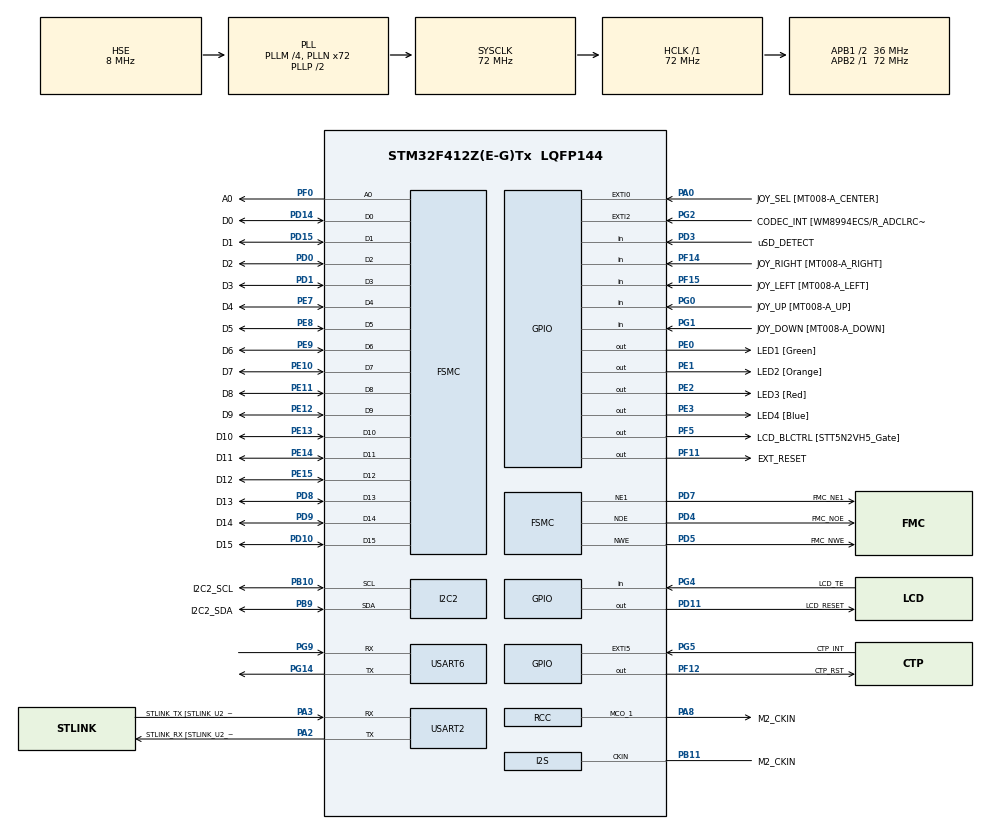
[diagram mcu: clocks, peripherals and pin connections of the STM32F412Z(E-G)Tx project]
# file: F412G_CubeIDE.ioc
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PD7.Mode=NorPsramChipSelect1_1
SH.FSMC_D1_DA1.0=FSMC_D1,16b-d1
PB10.Mode=I2C
PG4.Signal=GPIO_Input
PA14.GPIO_Label=SWCLK
SH.FSMC_NWE.0=FSMC_NWE,Lcd1
PG0.Signal=GPIO_Input
RCC.SYSCLKSource=RCC_SYSCLKSOURCE_PLLCLK
PE1.GPIO_ModeDefaultOutputPP=GPIO_MODE_OUTPUT_OD
PD4.Signal=FSMC_NOE
RCC.APB2TimFreq_Value=72000000
PD0.Signal=FSMC_D2_DA2
PD8.Signal=FSMC_D13_DA13
PE1.Signal=GPIO_Output
PD1.GPIO_Label=D3
PG14.Mode=Asynchronous
PF12.GPIO_Label=CTP_RST
SH.FSMC_D10_DA10.0=FSMC_D10,16b-d1
PE9.Signal=FSMC_D6_DA6
SH.FSMC_A0.0=FSMC_A0,A0_1
PG4.GPIO_Label=LCD_TE
PE2.Signal=GPIO_Output
PA8.Signal=RCC_MCO_1
PE10.Signal=FSMC_D7_DA7
SH.FSMC_D5_DA5.0=FSMC_D5,16b-d1
PA0.Signal=GPXTI0
Mcu.Package=LQFP144
PB9.Signal=I2C2_SDA
PE12.GPIO_Label=D9
SH.FSMC_D3_DA3.0=FSMC_D3,16b-d1
PF14.Signal=GPIO_Input
RCC.APB1TimFreq_Value=72000000
PE10.GPIO_Label=D7
PD15.Signal=FSMC_D1_DA1
PD9.GPIO_Label=D14
TIM3.AutoReloadPreload=TIM_AUTORELOAD_PRELOAD_ENABLE
PG5.Signal=GPXTI5
PG9.Signal=USART6_RX
PD3.Signal=GPIO_Input
PH1\ -\ OSC_OUT.Mode=HSE-External-Clock-Source
PG9.Mode=Asynchronous
PB11.GPIO_Label=M2_CKIN
PD7.Signal=FSMC_NE1
PD1.Signal=FSMC_D3_DA3
SH.FSMC_D9_DA9.0=FSMC_D9,16b-d1
PF14.GPIO_Label=JOY_RIGHT [MT008-A_RIGHT]
RCC.APB1CLKDivider=RCC_HCLK_DIV2
PC14-OSC32_IN.Signal=RCC_OSC32_IN
SH.FSMC_D8_DA8.0=FSMC_D8,16b-d1
PD10.Signal=FSMC_D15_DA15
PA3.Mode=Asynchronous
PA8.GPIO_Label=M2_CKIN
PB11.Mode=Audio_ClockIn
PE8.GPIO_Label=D5
PE9.GPIO_Label=D6
PB10.Signal=I2C2_SCL
PH1\ -\ OSC_OUT.Signal=RCC_OSC_OUT
SH.FSMC_D7_DA7.0=FSMC_D7,16b-d1
PE1.GPIO_Label=LED2 [Orange]
NVIC.TIM3_IRQn=true\:0\:0\:false\:false\:true\:true\:true
PE14.Signal=FSMC_D11_DA11
PE15.Signal=FSMC_D12_DA12
PE8.Signal=FSMC_D5_DA5
PA13.Mode=Serial_Wire
PE13.GPIO_Label=D10
PE3.GPIO_ModeDefaultOutputPP=GPIO_MODE_OUTPUT_OD
PD11.Signal=GPIO_Output
SH.FSMC_D15_DA15.0=FSMC_D15,16b-d1
ProjectManager.HeapSize=0x200
NVIC.PriorityGroup=NVIC_PRIORITYGROUP_4
PF0.GPIO_Label=A0
PE3.Signal=GPIO_Output
PA8.Mode=Clock-out-1
Mcu.Family=STM32F4
RCC.CortexFreq_Value=72000000
PG2.Signal=GPXTI2
PE11.GPIO_Label=D8
VP_IWDG_VS_IWDG.Mode=IWDG_Activate
PA0.GPIO_Label=JOY_SEL [MT008-A_CENTER]
SH.FSMC_D0_DA0.0=FSMC_D0,16b-d1
PD0.GPIO_Label=D2
PG5.GPIO_Label=CTP_INT
PB11.Signal=I2S_CKIN
ProjectManager.StackSize=0x400
PH0\ -\ OSC_IN.Signal=RCC_OSC_IN
PD11.GPIO_Label=LCD_RESET
RCC.HCLKFreq_Value=72000000
TIM3.Period=100-1
PF11.GPIO_Label=EXT_RESET
PF12.Signal=GPIO_Output
RCC.AHBFreq_Value=72000000
TIM3.ClockDivision=TIM_CLOCKDIVISION_DIV2
RCC.HSE_VALUE=8000000
PE2.GPIO_ModeDefaultOutputPP=GPIO_MODE_OUTPUT_OD
PE13.Signal=FSMC_D10_DA10
SH.FSMC_D14_DA14.0=FSMC_D14,16b-d1
PC14-OSC32_IN.Mode=LSE-External-Oscillator
PA14.Mode=Serial_Wire
TIM3.Prescaler=36000
PF11.Signal=GPIO_Output
SH.FSMC_D6_DA6.0=FSMC_D6,16b-d1
PD7.GPIO_Label=FMC_NE1
SH.FSMC_D4_DA4.0=FSMC_D4,16b-d1
USART2.VirtualMode=VM_ASYNC
USART6.VirtualMode=VM_ASYNC
PD5.GPIO_Label=FMC_NWE
PA2.GPIO_Label=STLINK_RX [STLINK_U2_RX]
SH.FSMC_D13_DA13.0=FSMC_D13,16b-d1
PF5.GPIO_Label=LCD_BLCTRL [STT5N2VH5_Gate]
PG0.GPIO_Label=JOY_UP [MT008-A_UP]
PE0.GPIO_Label=LED1 [Green]
PF5.Signal=GPIO_Output
SH.FSMC_D2_DA2.0=FSMC_D2,16b-d1
PF0.Signal=FSMC_A0
PD3.GPIO_Label=uSD_DETECT
PE7.Signal=FSMC_D4_DA4
PE2.GPIO_Label=LED3 [Red]
VP_TIM3_VS_ClockSourceINT.Mode=Internal
PG2.GPIO_Label=CODEC_INT [WM8994ECS/R_ADCLRCLK1/GPIO1]
PA3.Signal=USART2_RX
RCC.PLLSourceVirtual=RCC_PLLSOURCE_HSE
PC15-OSC32_OUT.Mode=LSE-External-Oscillator
PE0.GPIO_ModeDefaultOutputPP=GPIO_MODE_OUTPUT_OD
SH.FSMC_D12_DA12.0=FSMC_D12,16b-d1
PD15.GPIO_Label=D1
PB9.GPIO_Label=I2C2_SDA
PG1.Signal=GPIO_Input
PE14.GPIO_Label=D11
PD9.Signal=FSMC_D14_DA14
PD5.Signal=FSMC_NWE
PD8.GPIO_Label=D13
PA13.Signal=SYS_JTMS-SWDIO
PH0\ -\ OSC_IN.Mode=HSE-External-Clock-Source
PE15.GPIO_Label=D12
ProjectManager.TargetToolchain=STM32CubeIDE
PB10.GPIO_Label=I2C2_SCL
PB9.Mode=I2C
RCC.USBFreq_Value=48000000
PD10.GPIO_Label=D15
PE11.Signal=FSMC_D8_DA8
PC15-OSC32_OUT.Signal=RCC_OSC32_OUT
PG14.Signal=USART6_TX
board=STM32F412G-DISCO
RCC.VCOOutputFreq_Value=144000000
PG1.GPIO_Label=JOY_DOWN [MT008-A_DOWN]
RCC.APB2Freq_Value=72000000
PD4.GPIO_Label=FMC_NOE
PF15.GPIO_Label=JOY_LEFT [MT008-A_LEFT]
PF15.Signal=GPIO_Input
PD14.GPIO_Label=D0
Mcu.Name=STM32F412Z(E-G)Tx
PE0.Signal=GPIO_Output
PE7.GPIO_Label=D4
PE12.Signal=FSMC_D9_DA9
PA2.Signal=USART2_TX
PA13.GPIO_Label=SWDIO
PD14.Signal=FSMC_D0_DA0
RCC.48MHZClocksFreq_Value=48000000
RCC.SYSCLKFreq_VALUE=72000000
PA14.Signal=SYS_JTCK-SWCLK
SH.FSMC_D11_DA11.0=FSMC_D11,16b-d1
SH.FSMC_NOE.0=FSMC_NOE,Lcd1
RCC.HSI_VALUE=16000000
RCC.PLLQ=3
RCC.PLLM=4
RCC.PLLN=72
IWDG.Prescaler=IWDG_PRESCALER_8
PA2.Mode=Asynchronous
PE3.GPIO_Label=LED4 [Blue]
PH0\ -\ OSC_IN.GPIO_Label=STLK_MCO
TIM3.TIM_MasterOutputTrigger=TIM_TRGO_RESET
RCC.APB1Freq_Value=36000000
RCC.PLLI2SN=50
PA3.GPIO_Label=STLINK_TX [STLINK_U2_TX]
RCC.PLLI2SM=4

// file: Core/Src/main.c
/* USER CODE BEGIN Header */
/**
  ******************************************************************************
  * @file           : main.c
  * @brief          : Main program body
  ******************************************************************************
  * @attention
  *
  * <h2><center>&copy; Copyright (c) 2021 STMicroelectronics.
  * All rights reserved.</center></h2>
  *
  * This software component is licensed by ST under Ultimate Liberty license
  * SLA0044, the "License"; You may not use this file except in compliance with
  * the License. You may obtain a copy of the License at:
  *                             www.st.com/SLA0044
  *
  ******************************************************************************
  */
/* USER CODE END Header */
#include "main.h"

/* USER CODE BEGIN Includes */
#include <stdlib.h>

#include "stm32f4xx_hal.h"
#include "stm32412g_discovery.h"
#include "stm32412g_discovery_lcd.h"

// eigene Include's
// #include "AMG.h"
#include "LCD.h"
#include "generalHandling.h"

/* USER CODE END Includes */

I2C_HandleTypeDef hi2c2;

IWDG_HandleTypeDef hiwdg;

TIM_HandleTypeDef htim3;

UART_HandleTypeDef huart2;
UART_HandleTypeDef huart6;

SRAM_HandleTypeDef hsram1;

void SystemClock_Config(void);
static void MX_GPIO_Init(void);
static void MX_FSMC_Init(void);
static void MX_I2C2_Init(void);
static void MX_USART2_UART_Init(void);
static void MX_USART6_UART_Init(void);
static void MX_IWDG_Init(void);
static void MX_TIM3_Init(void);
/* USER CODE BEGIN PFP */
void runtimeRoutine()
{
	// alle 64 Pixel des Sensors auslesen
	  for(int i = 0; i < 64; i++)
	  {
		  rawData[i] = amgGetData(regDataL, regDataH);
		  dataInt[i] = amgTranslateDataInt(rawData[i]);
		  dataFloat[i] = amgTranslateDataFloat(rawData[i]);
		  regDataL += 2;
		  regDataH += 2;
	  }

	  // Gleitkommazahlen über UART senden
	  amgDataToUart(dataFloat, dataInt);

	  // LCD auf Basis der Integer updaten (Gleitkommazahlen lohnen sich hier nicht wirklich)
	  updateLCD(dataInt);

	  HAL_IWDG_Refresh(&hiwdg);
}

void HAL_TIM_PeriodElapsedCallback(TIM_HandleTypeDef *htim)
{
	runtimeRoutine();
}

/* USER CODE END PFP */

int main(void)
{

  /* MCU Configuration--------------------------------------------------------*/

  /* Reset of all peripherals, Initializes the Flash interface and the Systick. */
  HAL_Init();

  /* Configure the system clock */
  SystemClock_Config();

  /* Initialize all configured peripherals */
  MX_GPIO_Init();
  MX_FSMC_Init();
  MX_I2C2_Init();
  MX_USART2_UART_Init();
  MX_USART6_UART_Init();
  MX_IWDG_Init();
  MX_TIM3_Init();
  /* USER CODE BEGIN 2 */
  // Ausschalten aller LEDs
  resetLEDs();

  // Initialisierung des LCDs
  confLCD();

  // Initialisierung der I2C-Schnittstelle & des Sensors
  confAMG();

  // Initialisierung des Watchdog-Timers
  confWatchdog();

  // Starten des Timers, der mit einer Frequenz von 10Hz globale Interrupts auslöst
  HAL_TIM_Base_Start_IT(&htim3);
  /* USER CODE END 2 */

  /* Infinite loop */
  while (1)
  {

  }
}

void SystemClock_Config(void)
{
  RCC_OscInitTypeDef RCC_OscInitStruct = {0};
  RCC_ClkInitTypeDef RCC_ClkInitStruct = {0};

  /** Configure the main internal regulator output voltage
  */
  __HAL_RCC_PWR_CLK_ENABLE();
  __HAL_PWR_VOLTAGESCALING_CONFIG(PWR_REGULATOR_VOLTAGE_SCALE1);
  /** Initializes the RCC Oscillators according to the specified parameters
  * in the RCC_OscInitTypeDef structure.
  */
  RCC_OscInitStruct.OscillatorType = RCC_OSCILLATORTYPE_HSI|RCC_OSCILLATORTYPE_LSI
                              |RCC_OSCILLATORTYPE_HSE;
  RCC_OscInitStruct.HSEState = RCC_HSE_BYPASS;
  RCC_OscInitStruct.HSIState = RCC_HSI_ON;
  RCC_OscInitStruct.HSICalibrationValue = RCC_HSICALIBRATION_DEFAULT;
  RCC_OscInitStruct.LSIState = RCC_LSI_ON;
  RCC_OscInitStruct.PLL.PLLState = RCC_PLL_ON;
  RCC_OscInitStruct.PLL.PLLSource = RCC_PLLSOURCE_HSE;
  RCC_OscInitStruct.PLL.PLLM = 4;
  RCC_OscInitStruct.PLL.PLLN = 72;
  RCC_OscInitStruct.PLL.PLLP = RCC_PLLP_DIV2;
  RCC_OscInitStruct.PLL.PLLQ = 3;
  RCC_OscInitStruct.PLL.PLLR = 2;
  if (HAL_RCC_OscConfig(&RCC_OscInitStruct) != HAL_OK)
  {
    Error_Handler();
  }
  /** Initializes the CPU, AHB and APB buses clocks
  */
  RCC_ClkInitStruct.ClockType = RCC_CLOCKTYPE_HCLK|RCC_CLOCKTYPE_SYSCLK
                              |RCC_CLOCKTYPE_PCLK1|RCC_CLOCKTYPE_PCLK2;
  RCC_ClkInitStruct.SYSCLKSource = RCC_SYSCLKSOURCE_PLLCLK;
  RCC_ClkInitStruct.AHBCLKDivider = RCC_SYSCLK_DIV1;
  RCC_ClkInitStruct.APB1CLKDivider = RCC_HCLK_DIV2;
  RCC_ClkInitStruct.APB2CLKDivider = RCC_HCLK_DIV1;

  if (HAL_RCC_ClockConfig(&RCC_ClkInitStruct, FLASH_LATENCY_2) != HAL_OK)
  {
    Error_Handler();
  }
  HAL_RCC_MCOConfig(RCC_MCO1, RCC_MCO1SOURCE_HSI, RCC_MCODIV_1);
}

static void MX_I2C2_Init(void)
{

  hi2c2.Instance = I2C2;
  hi2c2.Init.ClockSpeed = 100000;
  hi2c2.Init.DutyCycle = I2C_DUTYCYCLE_2;
  hi2c2.Init.OwnAddress1 = 0;
  hi2c2.Init.AddressingMode = I2C_ADDRESSINGMODE_7BIT;
  hi2c2.Init.DualAddressMode = I2C_DUALADDRESS_DISABLE;
  hi2c2.Init.OwnAddress2 = 0;
  hi2c2.Init.GeneralCallMode = I2C_GENERALCALL_DISABLE;
  hi2c2.Init.NoStretchMode = I2C_NOSTRETCH_DISABLE;
  if (HAL_I2C_Init(&hi2c2) != HAL_OK)
  {
    Error_Handler();
  }

}

static void MX_IWDG_Init(void)
{

  hiwdg.Instance = IWDG;
  hiwdg.Init.Prescaler = IWDG_PRESCALER_8;
  hiwdg.Init.Reload = 4095;
  if (HAL_IWDG_Init(&hiwdg) != HAL_OK)
  {
    Error_Handler();
  }

}

static void MX_TIM3_Init(void)
{

  TIM_ClockConfigTypeDef sClockSourceConfig = {0};
  TIM_MasterConfigTypeDef sMasterConfig = {0};

  htim3.Instance = TIM3;
  htim3.Init.Prescaler = 36000;
  htim3.Init.CounterMode = TIM_COUNTERMODE_UP;
  htim3.Init.Period = 100-1;
  htim3.Init.ClockDivision = TIM_CLOCKDIVISION_DIV2;
  htim3.Init.AutoReloadPreload = TIM_AUTORELOAD_PRELOAD_ENABLE;
  if (HAL_TIM_Base_Init(&htim3) != HAL_OK)
  {
    Error_Handler();
  }
  sClockSourceConfig.ClockSource = TIM_CLOCKSOURCE_INTERNAL;
  if (HAL_TIM_ConfigClockSource(&htim3, &sClockSourceConfig) != HAL_OK)
  {
    Error_Handler();
  }
  sMasterConfig.MasterOutputTrigger = TIM_TRGO_RESET;
  sMasterConfig.MasterSlaveMode = TIM_MASTERSLAVEMODE_DISABLE;
  if (HAL_TIMEx_MasterConfigSynchronization(&htim3, &sMasterConfig) != HAL_OK)
  {
    Error_Handler();
  }

}

static void MX_USART2_UART_Init(void)
{

  huart2.Instance = USART2;
  huart2.Init.BaudRate = 115200;
  huart2.Init.WordLength = UART_WORDLENGTH_8B;
  huart2.Init.StopBits = UART_STOPBITS_1;
  huart2.Init.Parity = UART_PARITY_NONE;
  huart2.Init.Mode = UART_MODE_TX_RX;
  huart2.Init.HwFlowCtl = UART_HWCONTROL_NONE;
  huart2.Init.OverSampling = UART_OVERSAMPLING_16;
  if (HAL_UART_Init(&huart2) != HAL_OK)
  {
    Error_Handler();
  }

}

static void MX_USART6_UART_Init(void)
{

  huart6.Instance = USART6;
  huart6.Init.BaudRate = 115200;
  huart6.Init.WordLength = UART_WORDLENGTH_8B;
  huart6.Init.StopBits = UART_STOPBITS_1;
  huart6.Init.Parity = UART_PARITY_NONE;
  huart6.Init.Mode = UART_MODE_TX_RX;
  huart6.Init.HwFlowCtl = UART_HWCONTROL_NONE;
  huart6.Init.OverSampling = UART_OVERSAMPLING_16;
  if (HAL_UART_Init(&huart6) != HAL_OK)
  {
    Error_Handler();
  }

}

static void MX_GPIO_Init(void)
{
  GPIO_InitTypeDef GPIO_InitStruct = {0};

  /* GPIO Ports Clock Enable */
  __HAL_RCC_GPIOE_CLK_ENABLE();
  __HAL_RCC_GPIOC_CLK_ENABLE();
  __HAL_RCC_GPIOF_CLK_ENABLE();
  __HAL_RCC_GPIOH_CLK_ENABLE();
  __HAL_RCC_GPIOA_CLK_ENABLE();
  __HAL_RCC_GPIOG_CLK_ENABLE();
  __HAL_RCC_GPIOB_CLK_ENABLE();
  __HAL_RCC_GPIOD_CLK_ENABLE();

  /*Configure GPIO pin Output Level */
  HAL_GPIO_WritePin(GPIOE, LED3_Pin|LED4_Pin|LED1_Pin|LED2_Pin, GPIO_PIN_RESET);

  /*Configure GPIO pin Output Level */
  HAL_GPIO_WritePin(GPIOF, LCD_BLCTRL_Pin|EXT_RESET_Pin|CTP_RST_Pin, GPIO_PIN_RESET);

  /*Configure GPIO pin Output Level */
  HAL_GPIO_WritePin(LCD_RESET_GPIO_Port, LCD_RESET_Pin, GPIO_PIN_RESET);

  /*Configure GPIO pins : LED3_Pin LED4_Pin LED1_Pin LED2_Pin */
  GPIO_InitStruct.Pin = LED3_Pin|LED4_Pin|LED1_Pin|LED2_Pin;
  GPIO_InitStruct.Mode = GPIO_MODE_OUTPUT_OD;
  GPIO_InitStruct.Pull = GPIO_NOPULL;
  GPIO_InitStruct.Speed = GPIO_SPEED_FREQ_LOW;
  HAL_GPIO_Init(GPIOE, &GPIO_InitStruct);

  /*Configure GPIO pins : LCD_BLCTRL_Pin EXT_RESET_Pin CTP_RST_Pin */
  GPIO_InitStruct.Pin = LCD_BLCTRL_Pin|EXT_RESET_Pin|CTP_RST_Pin;
  GPIO_InitStruct.Mode = GPIO_MODE_OUTPUT_PP;
  GPIO_InitStruct.Pull = GPIO_NOPULL;
  GPIO_InitStruct.Speed = GPIO_SPEED_FREQ_LOW;
  HAL_GPIO_Init(GPIOF, &GPIO_InitStruct);

  /*Configure GPIO pin : JOY_SEL_Pin */
  GPIO_InitStruct.Pin = JOY_SEL_Pin;
  GPIO_InitStruct.Mode = GPIO_MODE_IT_RISING;
  GPIO_InitStruct.Pull = GPIO_NOPULL;
  HAL_GPIO_Init(JOY_SEL_GPIO_Port, &GPIO_InitStruct);

  /*Configure GPIO pins : JOY_RIGHT_Pin JOY_LEFT_Pin */
  GPIO_InitStruct.Pin = JOY_RIGHT_Pin|JOY_LEFT_Pin;
  GPIO_InitStruct.Mode = GPIO_MODE_INPUT;
  GPIO_InitStruct.Pull = GPIO_NOPULL;
  HAL_GPIO_Init(GPIOF, &GPIO_InitStruct);

  /*Configure GPIO pins : JOY_UP_Pin JOY_DOWN_Pin LCD_TE_Pin */
  GPIO_InitStruct.Pin = JOY_UP_Pin|JOY_DOWN_Pin|LCD_TE_Pin;
  GPIO_InitStruct.Mode = GPIO_MODE_INPUT;
  GPIO_InitStruct.Pull = GPIO_NOPULL;
  HAL_GPIO_Init(GPIOG, &GPIO_InitStruct);

  /*Configure GPIO pin : M2_CKIN_Pin */
  GPIO_InitStruct.Pin = M2_CKIN_Pin;
  GPIO_InitStruct.Mode = GPIO_MODE_AF_PP;
  GPIO_InitStruct.Pull = GPIO_NOPULL;
  GPIO_InitStruct.Speed = GPIO_SPEED_FREQ_LOW;
  GPIO_InitStruct.Alternate = GPIO_AF5_SPI1;
  HAL_GPIO_Init(M2_CKIN_GPIO_Port, &GPIO_InitStruct);

  /*Configure GPIO pin : LCD_RESET_Pin */
  GPIO_InitStruct.Pin = LCD_RESET_Pin;
  GPIO_InitStruct.Mode = GPIO_MODE_OUTPUT_PP;
  GPIO_InitStruct.Pull = GPIO_NOPULL;
  GPIO_InitStruct.Speed = GPIO_SPEED_FREQ_LOW;
  HAL_GPIO_Init(LCD_RESET_GPIO_Port, &GPIO_InitStruct);

  /*Configure GPIO pins : CODEC_INT_Pin CTP_INT_Pin */
  GPIO_InitStruct.Pin = CODEC_INT_Pin|CTP_INT_Pin;
  GPIO_InitStruct.Mode = GPIO_MODE_IT_RISING;
  GPIO_InitStruct.Pull = GPIO_NOPULL;
  HAL_GPIO_Init(GPIOG, &GPIO_InitStruct);

  /*Configure GPIO pin : M2_CKINA8_Pin */
  GPIO_InitStruct.Pin = M2_CKINA8_Pin;
  GPIO_InitStruct.Mode = GPIO_MODE_AF_PP;
  GPIO_InitStruct.Pull = GPIO_NOPULL;
  GPIO_InitStruct.Speed = GPIO_SPEED_FREQ_LOW;
  GPIO_InitStruct.Alternate = GPIO_AF0_MCO;
  HAL_GPIO_Init(M2_CKINA8_GPIO_Port, &GPIO_InitStruct);

  /*Configure GPIO pin : uSD_DETECT_Pin */
  GPIO_InitStruct.Pin = uSD_DETECT_Pin;
  GPIO_InitStruct.Mode = GPIO_MODE_INPUT;
  GPIO_InitStruct.Pull = GPIO_NOPULL;
  HAL_GPIO_Init(uSD_DETECT_GPIO_Port, &GPIO_InitStruct);

}

/* FSMC initialization function */
static void MX_FSMC_Init(void)
{

  FSMC_NORSRAM_TimingTypeDef Timing = {0};

  /** Perform the SRAM1 memory initialization sequence
  */
  hsram1.Instance = FSMC_NORSRAM_DEVICE;
  hsram1.Extended = FSMC_NORSRAM_EXTENDED_DEVICE;
  /* hsram1.Init */
  hsram1.Init.NSBank = FSMC_NORSRAM_BANK1;
  hsram1.Init.DataAddressMux = FSMC_DATA_ADDRESS_MUX_DISABLE;
  hsram1.Init.MemoryType = FSMC_MEMORY_TYPE_SRAM;
  hsram1.Init.MemoryDataWidth = FSMC_NORSRAM_MEM_BUS_WIDTH_16;
  hsram1.Init.BurstAccessMode = FSMC_BURST_ACCESS_MODE_DISABLE;
  hsram1.Init.WaitSignalPolarity = FSMC_WAIT_SIGNAL_POLARITY_LOW;
  hsram1.Init.WaitSignalActive = FSMC_WAIT_TIMING_BEFORE_WS;
  hsram1.Init.WriteOperation = FSMC_WRITE_OPERATION_ENABLE;
  hsram1.Init.WaitSignal = FSMC_WAIT_SIGNAL_DISABLE;
  hsram1.Init.ExtendedMode = FSMC_EXTENDED_MODE_DISABLE;
  hsram1.Init.AsynchronousWait = FSMC_ASYNCHRONOUS_WAIT_DISABLE;
  hsram1.Init.WriteBurst = FSMC_WRITE_BURST_DISABLE;
  hsram1.Init.ContinuousClock = FSMC_CONTINUOUS_CLOCK_SYNC_ONLY;
  hsram1.Init.WriteFifo = FSMC_WRITE_FIFO_ENABLE;
  hsram1.Init.PageSize = FSMC_PAGE_SIZE_NONE;
  /* Timing */
  Timing.AddressSetupTime = 15;
  Timing.AddressHoldTime = 15;
  Timing.DataSetupTime = 255;
  Timing.BusTurnAroundDuration = 15;
  Timing.CLKDivision = 16;
  Timing.DataLatency = 17;
  Timing.AccessMode = FSMC_ACCESS_MODE_A;
  /* ExtTiming */

  if (HAL_SRAM_Init(&hsram1, &Timing, NULL) != HAL_OK)
  {
    Error_Handler( );
  }

}

void Error_Handler(void)
{
  __disable_irq();
  while (1)
  {
  }
}

/************************ (C) COPYRIGHT STMicroelectronics *****END OF FILE****/
